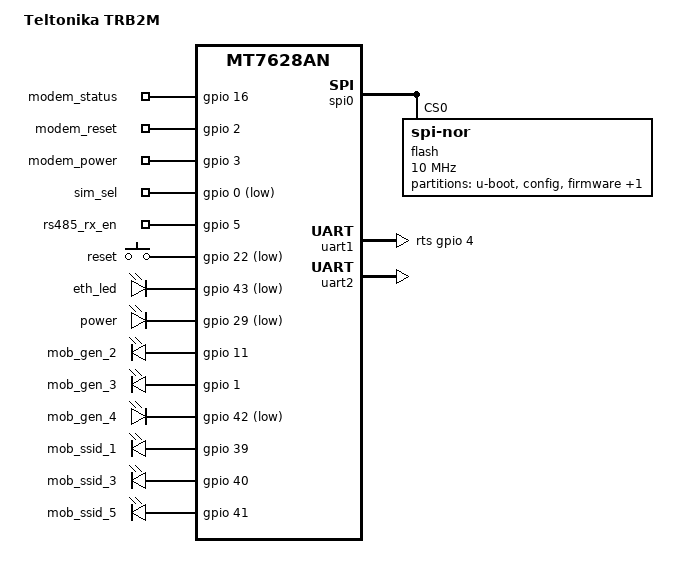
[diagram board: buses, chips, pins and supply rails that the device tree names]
// SPDX-License-Identifier: GPL-2.0-or-later OR MIT
/dts-v1/;

#include <dt-bindings/input/input.h>
#include <dt-bindings/gpio/gpio.h>
#include "mt7628an.dtsi"
#include "platform_name.dtsi"

/ {
	compatible = "teltonika,trb2m", "mediatek,mt7628an-soc";
	model = "Teltonika TRB2M";

	chosen {
		bootargs = "console=ttyS0,115200";
	};

	gpio-export {
		compatible = "gpio-export";
		#size-cells = <0>;

		gpio_modem_status {
			gpio-export,name = "modem_status";
			gpios = <&gpio 16 GPIO_ACTIVE_HIGH>;
		};

		gpio_modem_reset {
			gpio-export,name = "modem_reset";
			gpio-export,output = <0>;
			gpios = <&gpio 2 GPIO_ACTIVE_HIGH>;
		};

		gpio_modem_power {
			gpio-export,name = "modem_power";
			gpio-export,output = <0>;
			gpios = <&gpio 3 GPIO_ACTIVE_HIGH>;
		};

		gpio_sim_select {
			gpio-export,name = "sim_sel";
			gpio-export,output = <1>;
			gpios = <&gpio 0 GPIO_ACTIVE_LOW>;
		};

		gpio_rs485_rx_en {
			gpio-export,name = "rs485_rx_en";
			gpio-export,output = <0>;
			gpios = <&gpio 5 GPIO_ACTIVE_HIGH>;
		};
	};

	keys {
		compatible = "gpio-keys";

		reset {
			label = "reset";
			gpios = <&gpio 22 GPIO_ACTIVE_LOW>;
			linux,code = <KEY_RESTART>;
			debounce-interval = <60>;
		};
	};

	leds {
		compatible = "gpio-leds";

		eth_led {
			label = "eth_led";
			gpios = <&gpio 43 GPIO_ACTIVE_LOW>;
		};

		led_power {
			label = "power";
			gpios = <&gpio 29 GPIO_ACTIVE_LOW>;
			default-state = "on";
		};

		led_gen_2 {
			label = "mob_gen_2";
			gpios = <&gpio 11 GPIO_ACTIVE_HIGH>;
		};

		led_gen_3 {
			label = "mob_gen_3";
			gpios = <&gpio 1 GPIO_ACTIVE_HIGH>;
		};

		led_gen_4 {
			label = "mob_gen_4";
			gpios = <&gpio 42 GPIO_ACTIVE_LOW>;
		};

		led_ssid_1 {
			label = "mob_ssid_1";
			gpios = <&gpio 39 GPIO_ACTIVE_HIGH>;
			linux,default-trigger = "timer";
		};

		led_ssid_3 {
			label = "mob_ssid_3";
			gpios = <&gpio 40 GPIO_ACTIVE_HIGH>;
			linux,default-trigger = "timer";
		};

		led_ssid_5 {
			label = "mob_ssid_5";
			gpios = <&gpio 41 GPIO_ACTIVE_HIGH>;
			linux,default-trigger = "timer";
		};

	};
};

&state_default {
	gpio {
		groups = "i2s", "p4led_an", "p3led_an", "p2led_an", "p1led_an", "p0led_an", "gpio", "wled_an", "perst", "refclk", "wdt", "i2c";
		function = "gpio";
	};
};

&spi0 {
	status = "okay";

	flash@0 {
		compatible = "jedec,spi-nor";
		reg = <0>;
		spi-max-frequency = <10000000>;

		partitions {
			compatible = "fixed-partitions";
			#address-cells = <1>;
			#size-cells = <1>;

			partition@0 {
				label = "u-boot";
				reg = <0x0 0x20000>;
				read-only;
			};

			config: partition@20000 {
				label = "config";
				reg = <0x020000 0x010000>;
				read-only;
			};

			partition@30000 {
				compatible = "denx,uimage";
				label = "firmware";
				reg = <0x030000 0xf40000>;
			};

			partition@f70000 {
				label = "event-log";
				reg = <0xf70000 0x90000>;
			};
		};
	};
};

&ethernet {
	mtd-mac-address = <&config 0x0>;
};

&uart1 {
	status = "okay";
	linux,rs485-enabled-at-boot-time;
	rs485-rts-delay = <0 0>;
	rs485-rx-during-tx;
	rts-gpios = <&gpio 4 GPIO_ACTIVE_HIGH>;
};

&uart2 {
	status = "okay";
};
